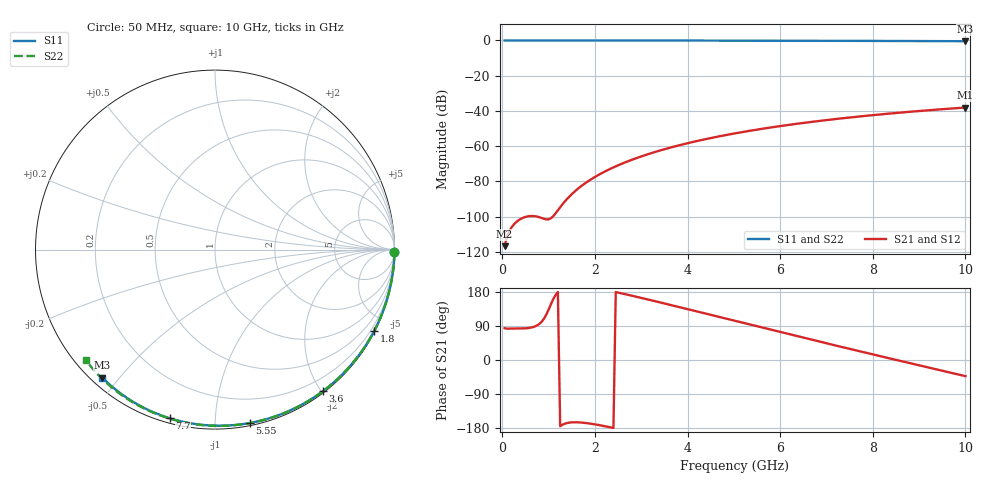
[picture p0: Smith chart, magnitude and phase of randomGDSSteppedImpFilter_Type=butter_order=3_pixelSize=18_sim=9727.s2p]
! freq	dB(S11)	phase(S11)	dB(S12)	phase(S12)
!  dB(S21)	phase(S21)	dB(S22)	phase(S22)
!S-par simulation data
#  GHz  S  DB  R 50
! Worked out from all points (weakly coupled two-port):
!   200 points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, 50 MHz to 10 GHz, reference 50 ohm
!   highest |S21| = -38.07 dB at 10 GHz (marker M1); lowest = -116.8 dB at 50 MHz (marker M2)
!   lowest |S11| = -0.4 dB at 10 GHz (marker M3), VSWR 39.11, Z = 1.54 - j22.6 ohm
!   |S11| at or under -10 dB: nowhere
!   |S22| runs from -0.5 to 0.0 dB; largest |S21 - S12| = 0
!   S11 on the Smith chart (normalised r, x): 50 MHz: open; 1.8 GHz: 0.04, -4.18; 3.6 GHz: 0.02, -2.02; 5.55 GHz: 0.02, -1.22; 7.7 GHz: 0.02, -0.77; 10 GHz: 0.03, -0.45
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0.05  -0.00 -0.8  -116.80 84.1  -116.80 84.1  -0.00 -0.8
0.45  -0.01 -6.8  -100.67 83.3  -100.67 83.3  -0.01 -7.3
0.9  -0.02 -13.6  -101.27 108.9  -101.27 108.9  -0.02 -14.4
1.75  -0.03 -26.2  -81.81 -165.5  -81.81 -165.5  -0.04 -27.8
1.8  -0.03 -26.9  -80.87 -166.2  -80.87 -166.2  -0.04 -28.6
1.85  -0.04 -27.6  -79.98 -167.0  -79.98 -167.0  -0.04 -29.4
2  -0.04 -29.8  -77.52 -169.9  -77.52 -169.9  -0.04 -31.7
2.15  -0.04 -32.0  -75.30 -173.2  -75.30 -173.2  -0.04 -34.0
2.35  -0.04 -34.9  -72.67 -178.1  -72.67 -178.1  -0.05 -37.1
2.55  -0.05 -37.8  -70.33 176.6  -70.33 176.6  -0.05 -40.2
2.95  -0.06 -43.5  -66.30 165.4  -66.30 165.4  -0.06 -46.2
3.4  -0.07 -49.8  -62.52 152.2  -62.52 152.2  -0.07 -52.9
3.6  -0.07 -52.6  -61.03 146.2  -61.03 146.2  -0.08 -55.9
4.3  -0.09 -62.2  -56.54 125.2  -56.54 125.2  -0.09 -66.0
5.05  -0.11 -72.1  -52.63 102.5  -52.63 102.5  -0.12 -76.5
5.55  -0.13 -78.6  -50.41 87.4  -50.41 87.4  -0.14 -83.3
6.1  -0.15 -85.6  -48.25 70.9  -48.25 70.9  -0.16 -90.7
6.7  -0.18 -93.0  -46.16 53.0  -46.16 53.0  -0.19 -98.5
7.7  -0.24 -105.0  -43.20 23.6  -43.20 23.6  -0.25 -111.2
8.35  -0.29 -112.6  -41.54 4.7  -41.54 4.7  -0.31 -119.3
9.2  -0.36 -122.3  -39.64 -19.8  -39.64 -19.8  -0.38 -129.7
10  -0.44 -131.3  -38.07 -42.6  -38.07 -42.6  -0.47 -139.5
